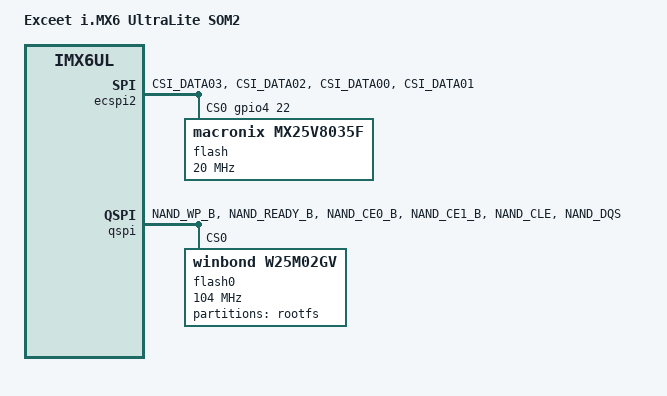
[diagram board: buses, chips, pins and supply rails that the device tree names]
/*
 * Copyright (C) 2017 exceet electronics GmbH
 *
 * This program is free software; you can redistribute it and/or modify
 * it under the terms of the GNU General Public License version 2 as
 * published by the Free Software Foundation.
 */

/dts-v1/;

#include <dt-bindings/input/input.h>
#include "imxceet-ul-2-som.dtsi"

/ {
	model = "Exceet i.MX6 UltraLite SOM2";
	compatible = "ex,imx6ul-exceet-som2", "fsl,imx6ul";
};

&ecspi2 {
	cs-gpios = <&gpio4 22 0>;
	pinctrl-names = "default";
	pinctrl-0 = <&pinctrl_ecspi2>;
	status = "okay";

	flash: mx25v80@0 {
		compatible = "macronix,mx25v8035f", "jedec,spi-nor";
		spi-max-frequency = <20000000>;
		reg = <0>;
	};
};

&qspi {
	pinctrl-names = "default";
	pinctrl-0 = <&pinctrl_qspi>;
	status = "okay";
	ddrsmp=<0>;

	flash0: w25m02gv@0 {
		#address-cells = <1>;
		#size-cells = <1>;
		compatible = "winbond,w25m02gv", "spi-nand";
		spi-max-frequency = <104000000>;
		spi-rx-bus-width = <4>;
		spi-tx-bus-width = <4>;
		reg = <0>;

		partition@0 {
			label = "rootfs";
			reg = <0x0000000 0x10000000>;
		};
	};
};

&iomuxc {
	pinctrl_ecspi2: ecspi2grp {
		fsl,pins = <
			MX6UL_PAD_CSI_DATA03__ECSPI2_MISO      0x100b1
			MX6UL_PAD_CSI_DATA02__ECSPI2_MOSI      0x100b1
			MX6UL_PAD_CSI_DATA00__ECSPI2_SCLK      0x100b1
			MX6UL_PAD_CSI_DATA01__GPIO4_IO22       0x100b1
		>;
	};

	pinctrl_qspi: qspigrp {
		fsl,pins = <
			MX6UL_PAD_NAND_WP_B__QSPI_A_SCLK        0x70a1
			MX6UL_PAD_NAND_READY_B__QSPI_A_DATA00   0x70a1
			MX6UL_PAD_NAND_CE0_B__QSPI_A_DATA01     0x70a1
			MX6UL_PAD_NAND_CE1_B__QSPI_A_DATA02     0x70a1
			MX6UL_PAD_NAND_CLE__QSPI_A_DATA03       0x70a1
			MX6UL_PAD_NAND_DQS__QSPI_A_SS0_B        0x70a1
		>;
	};
};
